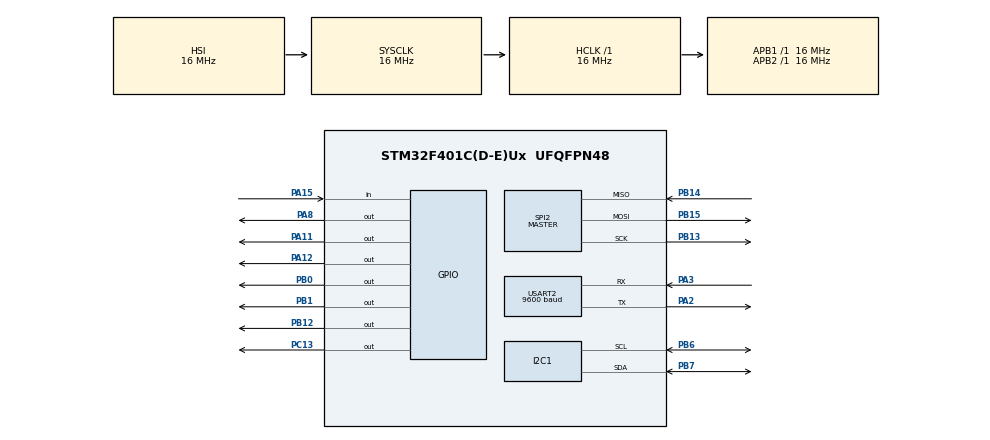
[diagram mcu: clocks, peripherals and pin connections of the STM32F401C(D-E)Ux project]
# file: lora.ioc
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FREERTOS.Queues01=myQueue01,10,SensorMessage,0,Dynamic,NULL,NULL
FREERTOS.Tasks01=BME280,24,512,StartBME,Default,&bme280,Dynamic,NULL,NULL;BNO08X,24,512,StartBNO08x,Default,NULL,Dynamic,NULL,NULL;GPS,24,128,StartGPS,Default,NULL,Dynamic,NULL,NULL;Enviadados,25,512,StartDadosTask,Default,NULL,Dynamic,NULL,NULL
FREERTOS.configUSE_NEWLIB_REENTRANT=1
Mcu.Family=STM32F4
Mcu.Name=STM32F401C(D-E)Ux
Mcu.Package=UFQFPN48
NVIC.PriorityGroup=NVIC_PRIORITYGROUP_4
NVIC.TIM1_UP_TIM10_IRQn=true\:15\:0\:false\:false\:true\:false\:false\:true\:true
NVIC.TimeBase=TIM1_UP_TIM10_IRQn
NVIC.TimeBaseIP=TIM1
PA11.Signal=GPIO_Output
PA12.Signal=GPIO_Output
PA13.Mode=Serial_Wire
PA13.Signal=SYS_JTMS-SWDIO
PA14.Mode=Serial_Wire
PA14.Signal=SYS_JTCK-SWCLK
PA15.Signal=GPIO_Input
PA2.Mode=Asynchronous
PA2.Signal=USART2_TX
PA3.Mode=Asynchronous
PA3.Signal=USART2_RX
PA8.Signal=GPIO_Output
PB0.Signal=GPIO_Output
PB1.Signal=GPIO_Output
PB12.Signal=GPIO_Output
PB13.Mode=Full_Duplex_Master
PB13.Signal=SPI2_SCK
PB14.Mode=Full_Duplex_Master
PB14.Signal=SPI2_MISO
PB15.Mode=Full_Duplex_Master
PB15.Signal=SPI2_MOSI
PB6.Mode=I2C
PB6.Signal=I2C1_SCL
PB7.Mode=I2C
PB7.Signal=I2C1_SDA
PC13-ANTI_TAMP.Signal=GPIO_Output
PH0\ -\ OSC_IN.Mode=HSE-External-Oscillator
PH0\ -\ OSC_IN.Signal=RCC_OSC_IN
PH1\ -\ OSC_OUT.Mode=HSE-External-Oscillator
PH1\ -\ OSC_OUT.Signal=RCC_OSC_OUT
ProjectManager.HeapSize=0x200
ProjectManager.StackSize=0x400
ProjectManager.TargetToolchain=STM32CubeIDE
RCC.AHBFreq_Value=16000000
RCC.APB1Freq_Value=16000000
RCC.APB2Freq_Value=16000000
RCC.CortexFreq_Value=16000000
RCC.HSE_VALUE=25000000
RCC.HSI_VALUE=16000000
RCC.LSE_VALUE=32768
RCC.SYSCLKFreq_VALUE=16000000
RCC.VCOOutputFreq_Value=192000000
SPI2.CLKPhase=SPI_PHASE_2EDGE
SPI2.CLKPolarity=SPI_POLARITY_HIGH
SPI2.Direction=SPI_DIRECTION_2LINES
SPI2.Mode=SPI_MODE_MASTER
SPI2.VirtualType=VM_MASTER
USART2.BaudRate=9600
USART2.VirtualMode=VM_ASYNC
VP_FREERTOS_VS_CMSIS_V2.Mode=CMSIS_V2
VP_SYS_VS_tim1.Mode=TIM1
board=custom

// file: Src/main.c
/* USER CODE BEGIN Header */
/**
  ******************************************************************************
  * @file           : main.c
  * @brief          : Main program body
  ******************************************************************************
  * @attention
  *
  * Copyright (c) 2026 STMicroelectronics.
  * All rights reserved.
  *
  * This software is licensed under terms that can be found in the LICENSE file
  * in the root directory of this software component.
  * If no LICENSE file comes with this software, it is provided AS-IS.
  *
  ******************************************************************************
  */
/* USER CODE END Header */
#include "main.h"
#include "cmsis_os.h"

/* USER CODE BEGIN Includes */
#include "lora.h"
#include "debug_macro.h"
#include "lapesp-types.h"
#include "lapesp-protocol.h"
#include "sensor-data.h"
#include <string.h>
#include <stdio.h>
#include "BNO080.h"
#include "BME280_STM32.h"
#include "flight_state.h"
/* USER CODE END Includes */

/* USER CODE BEGIN PTD */
typedef struct {
    uint8_t id;
    double temperatura;
    double umidade;
    double pressao;
    double altitude;
} BMEstruct;
typedef struct {
    uint8_t id;
    float gyrq0;
    float gyrq1;
    float gyrq2;
    float gyrreal;

    float gyrx;
	float gyry;
	float gyrz;

    float accelx;
    float accely;
    float accelz;

    float magx;
    float magy;
    float magz;

} BNOstruct;

typedef enum {
    MSG_BME,
    MSG_BNO,
    MSG_ADXL
} MsgType;

typedef struct {
    MsgType type;

    union {
        BMEstruct bme;
        BNOstruct bno;
    } data;

} SensorMessage;

LapespDTO lapesp_dto;
osMutexId_t lapesp_mutex;

SensorMessage msg;

BME280_Data_t bme280;
/* USER CODE END PTD */

I2C_HandleTypeDef hi2c1;

UART_HandleTypeDef huart2;

/* Definitions for BME280 */
osThreadId_t BME280Handle;
const osThreadAttr_t BME280_attributes = {
  .name = "BME280",
  .stack_size = 512 * 4,
  .priority = (osPriority_t) osPriorityNormal,
};
/* Definitions for BNO08X */
osThreadId_t BNO08XHandle;
const osThreadAttr_t BNO08X_attributes = {
  .name = "BNO08X",
  .stack_size = 720 * 4,
  .priority = (osPriority_t) osPriorityNormal,
};
/* Definitions for GPS */
osThreadId_t GPSHandle;
const osThreadAttr_t GPS_attributes = {
  .name = "GPS",
  .stack_size = 128 * 4,
  .priority = (osPriority_t) osPriorityNormal,
};
/* Definitions for Enviadados */
osThreadId_t EnviadadosHandle;
const osThreadAttr_t Enviadados_attributes = {
  .name = "Enviadados",
  .stack_size = 1024 * 4,
  .priority = (osPriority_t) osPriorityNormal1,
};
/* Definitions for task */
const osThreadAttr_t flightStateTask_attributes = {
    .name = "flightStateTask",
    .stack_size = 512 * 4,
    .priority = osPriorityLow7,
};
/* Definitions for myQueue01 */
osMessageQueueId_t myQueue01Handle;
const osMessageQueueAttr_t myQueue01_attributes = {
  .name = "myQueue01"
};

void SystemClock_Config(void);
static void MX_GPIO_Init(void);
static void MX_I2C1_Init(void);
static void MX_SPI2_Init(void);
static void MX_USART2_UART_Init(void);
void StartBME(void *argument);
void StartBNO08x(void *argument);
void StartGPS(void *argument);
void StartDadosTask(void *argument);

/* USER CODE BEGIN 0 */
int _write(int file, char *ptr, int len)
{
    HAL_UART_Transmit(&huart2, (uint8_t *)ptr, len, HAL_MAX_DELAY);
    return len;
}
void Sensor_Init(void)
{
  //Init structure definition section
		BME280_Init_t BME280_InitStruct = {0};
	    Reset_BME280();
	    BME280_InitStruct.Filter = FILTER_8;
	    BME280_InitStruct.Mode = BME280_NORMAL_MODE;
	    BME280_InitStruct.OverSampling_H = OVERSAMPLING_16;
	    BME280_InitStruct.OverSampling_P = OVERSAMPLING_16;
	    BME280_InitStruct.OverSampling_T = OVERSAMPLING_16;
	    BME280_InitStruct.SPI_EnOrDıs = SPI3_W_DISABLE;
	    BME280_InitStruct.T_StandBy = T_SB_250;
	    BME280Init(BME280_InitStruct);
}
/* USER CODE END 0 */

int main(void)
{

  /* MCU Configuration--------------------------------------------------------*/

  /* Reset of all peripherals, Initializes the Flash interface and the Systick. */
  HAL_Init();

  /* Configure the system clock */
  SystemClock_Config();

  /* Initialize all configured peripherals */
  MX_GPIO_Init();
  MX_I2C1_Init();
  MX_SPI2_Init();
  MX_USART2_UART_Init();

  /* Init scheduler */
  osKernelInitialize();

  /* Create the queue(s) */
  /* creation of myQueue01 */
  lapesp_mutex = osMutexNew(NULL);

  myQueue01Handle = osMessageQueueNew (10, sizeof(SensorMessage), &myQueue01_attributes);

  /* Create the thread(s) */
  /* creation of BME280 */
  BME280Handle = osThreadNew(StartBME, (void*) &bme280, &BME280_attributes);

  /* creation of BNO08X */
  BNO08XHandle = osThreadNew(StartBNO08x, NULL, &BNO08X_attributes);

  /* creation of GPS */
  GPSHandle = osThreadNew(StartGPS, NULL, &GPS_attributes);

  /* creation of Enviadados */
  EnviadadosHandle = osThreadNew(StartDadosTask, NULL, &Enviadados_attributes);

  osThreadNew(task_flight_state, NULL, &flightStateTask_attributes);

  /* creation of task */
  /* USER CODE BEGIN RTOS_THREADS */
  DEBUG_PRINT("ANTES CRIAR BNO\r\n");

   if (BNO08XHandle == NULL)
   {
       DEBUG_PRINT("ERRO AO CRIAR BNO TASK\r\n");
   }
   else
   {
       DEBUG_PRINT("BNO TASK CRIADA\r\n");
   }
  /* USER CODE END RTOS_THREADS */

  /* USER CODE BEGIN RTOS_EVENTS */
  /* add 's, ... */
  /* USER CODE END RTOS_EVENTS */

  /* Start scheduler */
  osKernelStart();

  /* We should never get here as control is now taken by the scheduler */

  /* Infinite loop */
  while (1)
  {

  }
}

void SystemClock_Config(void)
{
  RCC_OscInitTypeDef RCC_OscInitStruct = {0};
  RCC_ClkInitTypeDef RCC_ClkInitStruct = {0};

  /** Configure the main internal regulator output voltage
  */
  __HAL_RCC_PWR_CLK_ENABLE();
  __HAL_PWR_VOLTAGESCALING_CONFIG(PWR_REGULATOR_VOLTAGE_SCALE2);

  /** Initializes the RCC Oscillators according to the specified parameters
  * in the RCC_OscInitTypeDef structure.
  */
  RCC_OscInitStruct.OscillatorType = RCC_OSCILLATORTYPE_HSI;
  RCC_OscInitStruct.HSIState = RCC_HSI_ON;
  RCC_OscInitStruct.HSICalibrationValue = RCC_HSICALIBRATION_DEFAULT;
  RCC_OscInitStruct.PLL.PLLState = RCC_PLL_NONE;
  if (HAL_RCC_OscConfig(&RCC_OscInitStruct) != HAL_OK)
  {
    Error_Handler();
  }

  /** Initializes the CPU, AHB and APB buses clocks
  */
  RCC_ClkInitStruct.ClockType = RCC_CLOCKTYPE_HCLK|RCC_CLOCKTYPE_SYSCLK
                              |RCC_CLOCKTYPE_PCLK1|RCC_CLOCKTYPE_PCLK2;
  RCC_ClkInitStruct.SYSCLKSource = RCC_SYSCLKSOURCE_HSI;
  RCC_ClkInitStruct.AHBCLKDivider = RCC_SYSCLK_DIV1;
  RCC_ClkInitStruct.APB1CLKDivider = RCC_HCLK_DIV1;
  RCC_ClkInitStruct.APB2CLKDivider = RCC_HCLK_DIV1;

  if (HAL_RCC_ClockConfig(&RCC_ClkInitStruct, FLASH_LATENCY_0) != HAL_OK)
  {
    Error_Handler();
  }
}

static void MX_I2C1_Init(void)
{

  hi2c1.Instance = I2C1;
  hi2c1.Init.ClockSpeed = 100000;
  hi2c1.Init.DutyCycle = I2C_DUTYCYCLE_2;
  hi2c1.Init.OwnAddress1 = 0;
  hi2c1.Init.AddressingMode = I2C_ADDRESSINGMODE_7BIT;
  hi2c1.Init.DualAddressMode = I2C_DUALADDRESS_DISABLE;
  hi2c1.Init.OwnAddress2 = 0;
  hi2c1.Init.GeneralCallMode = I2C_GENERALCALL_DISABLE;
  hi2c1.Init.NoStretchMode = I2C_NOSTRETCH_DISABLE;
  if (HAL_I2C_Init(&hi2c1) != HAL_OK)
  {
    Error_Handler();
  }

}

static void MX_SPI2_Init(void)
{

  LL_SPI_InitTypeDef SPI_InitStruct = {0};

  LL_GPIO_InitTypeDef GPIO_InitStruct = {0};

  /* Peripheral clock enable */
  LL_APB1_GRP1_EnableClock(LL_APB1_GRP1_PERIPH_SPI2);

  LL_AHB1_GRP1_EnableClock(LL_AHB1_GRP1_PERIPH_GPIOB);
  /**SPI2 GPIO Configuration
  PB13   ------> SPI2_SCK
  PB14   ------> SPI2_MISO
  PB15   ------> SPI2_MOSI
  */
  GPIO_InitStruct.Pin = LL_GPIO_PIN_13|LL_GPIO_PIN_14|LL_GPIO_PIN_15;
  GPIO_InitStruct.Mode = LL_GPIO_MODE_ALTERNATE;
  GPIO_InitStruct.Speed = LL_GPIO_SPEED_FREQ_VERY_HIGH;
  GPIO_InitStruct.OutputType = LL_GPIO_OUTPUT_PUSHPULL;
  GPIO_InitStruct.Pull = LL_GPIO_PULL_NO;
  GPIO_InitStruct.Alternate = LL_GPIO_AF_5;
  LL_GPIO_Init(GPIOB, &GPIO_InitStruct);

  /* SPI2 parameter configuration*/
  SPI_InitStruct.TransferDirection = LL_SPI_FULL_DUPLEX;
  SPI_InitStruct.Mode = LL_SPI_MODE_MASTER;
  SPI_InitStruct.DataWidth = LL_SPI_DATAWIDTH_8BIT;
  SPI_InitStruct.ClockPolarity = LL_SPI_POLARITY_HIGH;
  SPI_InitStruct.ClockPhase = LL_SPI_PHASE_2EDGE;
  SPI_InitStruct.NSS = LL_SPI_NSS_SOFT;
  SPI_InitStruct.BaudRate = LL_SPI_BAUDRATEPRESCALER_DIV2;
  SPI_InitStruct.BitOrder = LL_SPI_MSB_FIRST;
  SPI_InitStruct.CRCCalculation = LL_SPI_CRCCALCULATION_DISABLE;
  SPI_InitStruct.CRCPoly = 10;
  LL_SPI_Init(SPI2, &SPI_InitStruct);
  LL_SPI_SetStandard(SPI2, LL_SPI_PROTOCOL_MOTOROLA);

}

static void MX_USART2_UART_Init(void)
{

  huart2.Instance = USART2;
  huart2.Init.BaudRate = 9600;
  huart2.Init.WordLength = UART_WORDLENGTH_8B;
  huart2.Init.StopBits = UART_STOPBITS_1;
  huart2.Init.Parity = UART_PARITY_NONE;
  huart2.Init.Mode = UART_MODE_TX_RX;
  huart2.Init.HwFlowCtl = UART_HWCONTROL_NONE;
  huart2.Init.OverSampling = UART_OVERSAMPLING_16;
  if (HAL_UART_Init(&huart2) != HAL_OK)
  {
    Error_Handler();
  }

}

static void MX_GPIO_Init(void)
{
  LL_GPIO_InitTypeDef GPIO_InitStruct = {0};

  /* GPIO Ports Clock Enable */
  LL_AHB1_GRP1_EnableClock(LL_AHB1_GRP1_PERIPH_GPIOC);
  LL_AHB1_GRP1_EnableClock(LL_AHB1_GRP1_PERIPH_GPIOH);
  LL_AHB1_GRP1_EnableClock(LL_AHB1_GRP1_PERIPH_GPIOA);
  LL_AHB1_GRP1_EnableClock(LL_AHB1_GRP1_PERIPH_GPIOB);

  /**/
  LL_GPIO_ResetOutputPin(GPIOC, LL_GPIO_PIN_13);

  /**/
  LL_GPIO_ResetOutputPin(GPIOB, LL_GPIO_PIN_0|LL_GPIO_PIN_1|LL_GPIO_PIN_12);

  /**/
  LL_GPIO_ResetOutputPin(GPIOA, LL_GPIO_PIN_8|LL_GPIO_PIN_11|LL_GPIO_PIN_12);

  /**/
  GPIO_InitStruct.Pin = LL_GPIO_PIN_13;
  GPIO_InitStruct.Mode = LL_GPIO_MODE_OUTPUT;
  GPIO_InitStruct.Speed = LL_GPIO_SPEED_FREQ_LOW;
  GPIO_InitStruct.OutputType = LL_GPIO_OUTPUT_PUSHPULL;
  GPIO_InitStruct.Pull = LL_GPIO_PULL_NO;
  LL_GPIO_Init(GPIOC, &GPIO_InitStruct);

  /**/
  GPIO_InitStruct.Pin = LL_GPIO_PIN_0|LL_GPIO_PIN_1|LL_GPIO_PIN_12;
  GPIO_InitStruct.Mode = LL_GPIO_MODE_OUTPUT;
  GPIO_InitStruct.Speed = LL_GPIO_SPEED_FREQ_LOW;
  GPIO_InitStruct.OutputType = LL_GPIO_OUTPUT_PUSHPULL;
  GPIO_InitStruct.Pull = LL_GPIO_PULL_NO;
  LL_GPIO_Init(GPIOB, &GPIO_InitStruct);

  /**/
  GPIO_InitStruct.Pin = LL_GPIO_PIN_8|LL_GPIO_PIN_11|LL_GPIO_PIN_12;
  GPIO_InitStruct.Mode = LL_GPIO_MODE_OUTPUT;
  GPIO_InitStruct.Speed = LL_GPIO_SPEED_FREQ_LOW;
  GPIO_InitStruct.OutputType = LL_GPIO_OUTPUT_PUSHPULL;
  GPIO_InitStruct.Pull = LL_GPIO_PULL_NO;
  LL_GPIO_Init(GPIOA, &GPIO_InitStruct);

  /**/
  GPIO_InitStruct.Pin = LL_GPIO_PIN_15;
  GPIO_InitStruct.Mode = LL_GPIO_MODE_INPUT;
  GPIO_InitStruct.Pull = LL_GPIO_PULL_NO;
  LL_GPIO_Init(GPIOA, &GPIO_InitStruct);

}

void StartBME(void *argument)
{

    Sensor_Init();

    for (;;)
    {

        BME280Calculation(&bme280);

        msg.data.bme.id = 0x01;
        msg.type = MSG_BME;
        msg.data.bme.temperatura = bme280.Temperature;
        msg.data.bme.pressao = bme280.Pressure;
        msg.data.bme.altitude = bme280.AltitudeTP;
        msg.data.bme.umidade = bme280.Humidity;

        osStatus_t status = osMessageQueuePut(
            myQueue01Handle,
            &msg,
            0,
            0
        );
        if(status!= osOK){
        	osDelay(2000);
        }

        osDelay(300);
    }
}
  /* USER CODE END 5 */

void StartBNO08x(void *argument)
{
    BNO080_Initialization();

    BNO080_enableAccelerometer(2500);
    BNO080_enableRotationVector(2500);
    BNO080_enableGyro(2500);

    while (1)
    {
        if (BNO080_dataAvailable() == 1)
        {
            msg.data.bno.id = 0x01;
            msg.type = MSG_BNO;

            msg.data.bno.gyrq0 = BNO080_getQuatI();
            msg.data.bno.gyrq1 = BNO080_getQuatJ();
            msg.data.bno.gyrq2 = BNO080_getQuatK();
            msg.data.bno.gyrreal = BNO080_getQuatReal();

            msg.data.bno.accelx = BNO080_getAccelX();
            msg.data.bno.accely = BNO080_getAccelY();
            msg.data.bno.accelz = BNO080_getAccelZ();

            msg.data.bno.gyrx= BNO080_getGyroX();
            msg.data.bno.gyry = BNO080_getGyroY();
            msg.data.bno.gyrz = BNO080_getGyroZ();
            osStatus_t status = osMessageQueuePut(
                myQueue01Handle,
                &msg,
                0,
                0
            );
            if(status!= osOK){
            	osDelay(2000);
            }

        }

        osDelay(100);
    }
}/* @param argument: Not used
* @retval None
*/

void StartGPS(void *argument)
{
  for(;;)
  {
    osDelay(1);
  }
}

/* USER CODE BEGIN Header_StartDadosTask */
void StartDadosTask(void *argument)
{
    LapespPacket pacote;
    memset(&lapesp_dto, 0, sizeof(LapespDTO));

    for (;;)
    {

        osStatus_t stats = osMessageQueueGet(
            myQueue01Handle,
            &msg,
            0,
            osWaitForever
        );

        if (stats == osOK)
        {

            osStatus_t mutex_status =
                osMutexAcquire(lapesp_mutex, osWaitForever);

            if (mutex_status == osOK)
            {
                if (msg.type == MSG_BME)
                {

                    lapesp_dto.BME_temperatura =
                        msg.data.bme.temperatura;

                    lapesp_dto.BME_pressao =
                        msg.data.bme.pressao;

                    lapesp_dto.BME_humidade =
                        msg.data.bme.umidade;

                    DEBUG_PRINT("TEMP: %.1f\r\n", lapesp_dto.BME_temperatura);
                    DEBUG_PRINT("PRESSAO %.0f\r\n", lapesp_dto.BME_pressao);
                    DEBUG_PRINT("UMIDADE %.0f \r\n", lapesp_dto.BME_humidade);

                }

                if (msg.type == MSG_BNO)
                {

                    DEBUG_PRINT("ACC: %.2f %.2f %.2f\r\n",
                                msg.data.bno.accelx,
                                msg.data.bno.accely,
                                msg.data.bno.accelz);

                    DEBUG_PRINT("GYR: %.1f %.1f %.1f\r\n",
                                msg.data.bno.gyrx,
                                msg.data.bno.gyry,
                                msg.data.bno.gyrz);

                    DEBUG_PRINT("QUAT: %.1f %.1f %.1f %.1f\r\n",
                                msg.data.bno.gyrq0,
                                msg.data.bno.gyrq1,
                                msg.data.bno.gyrq2,
                                msg.data.bno.gyrreal);

                }

                osMutexRelease(lapesp_mutex);
            }
        }
    }
}				/*DEBUG_PRINT("ACC: %.2f %.2f %.2f\r\n", msg.data.bno.accelx,msg.data.bno.accely , msg.data.bno.accelz);
        		DEBUG_PRINT("GYR: %.2f %.2f %.2f\r\n", msg.data.bno.gyrx,msg.data.bno.gyry, msg.data.bno.gyrz);
        		DEBUG_PRINT("QUAT: %.2f %.2f %.2f %.2f\r\n", msg.data.bno.gyrq0,msg.data.bno.gyrq1, msg.data.bno.gyrq2, msg.data.bno.gyrreal);
				*/

/**
* @brief Function implementing the Enviadados thread.
* @param argument: Not used
* @retval None
*
*/
/* USER CODE END Header_StartDadosTask */

void HAL_TIM_PeriodElapsedCallback(TIM_HandleTypeDef *htim)
{
  if (htim->Instance == TIM1) {
    HAL_IncTick();
  }
}

void Error_Handler(void)
{
  __disable_irq();
  while (1)
  {
  }
}

#ifdef  USE_FULL_ASSERT
/**
  * @brief  Reports the name of the source file and the source line number
  *         where the assert_param error has occurred.
  * @param  file: pointer to the source file name
  * @param  line: assert_param error line source number
  * @retval None
  */
void assert_failed(uint8_t *file, uint32_t line)
{
  /* USER CODE BEGIN 6 */
  /* User can add his own implementation to report the file name and line number,
     ex: DEBUG_PRINT("Wrong parameters value: file %s on line %d\r\n", file, line) */
  /* USER CODE END 6 */
}
#endif /* USE_FULL_ASSERT */
